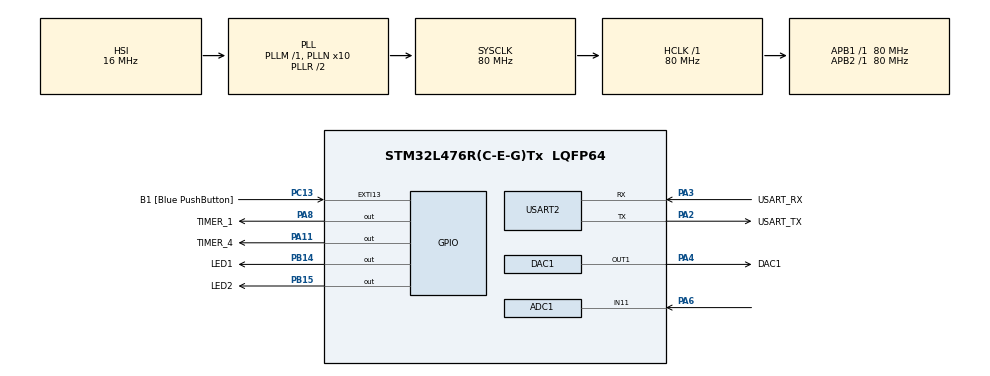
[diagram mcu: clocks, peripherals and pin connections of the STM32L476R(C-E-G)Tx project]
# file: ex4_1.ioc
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ADC1.Channel-0\#ChannelRegularConversion=ADC_CHANNEL_11
ADC1.ExternalTrigConv=ADC_EXTERNALTRIG_T6_TRGO
ADC1.NbrOfConversionFlag=1
ADC1.OffsetNumber-0\#ChannelRegularConversion=ADC_OFFSET_NONE
ADC1.OversamplingMode=DISABLE
ADC1.Rank-0\#ChannelRegularConversion=1
ADC1.SamplingTime-0\#ChannelRegularConversion=ADC_SAMPLETIME_47CYCLES_5
ADC1.master=1
DAC1.DAC_Trigger-DAC_OUT1=DAC_TRIGGER_T6_TRGO
Mcu.Family=STM32L4
Mcu.Name=STM32L476R(C-E-G)Tx
Mcu.Package=LQFP64
NVIC.ADC1_2_IRQn=true\:0\:0\:false\:false\:true\:true\:true
NVIC.PriorityGroup=NVIC_PRIORITYGROUP_4
NVIC.TIM1_TRG_COM_TIM17_IRQn=true\:0\:0\:false\:false\:true\:true\:true
NVIC.TIM1_UP_TIM16_IRQn=true\:0\:0\:false\:false\:true\:true\:true
NVIC.TIM6_DAC_IRQn=true\:0\:0\:false\:false\:true\:true\:true
NVIC.TIM7_IRQn=true\:0\:0\:false\:false\:true\:true\:true
NVIC.USART2_IRQn=true\:0\:0\:false\:false\:true\:true\:true
PA11.GPIO_Label=TIMER_4
PA11.Signal=GPIO_Output
PA13\ (JTMS-SWDIO).GPIO_Label=TMS
PA13\ (JTMS-SWDIO).Mode=Serial_Wire
PA13\ (JTMS-SWDIO).Signal=SYS_JTMS-SWDIO
PA14\ (JTCK-SWCLK).GPIO_Label=TCK
PA14\ (JTCK-SWCLK).Mode=Serial_Wire
PA14\ (JTCK-SWCLK).Signal=SYS_JTCK-SWCLK
PA2.GPIO_Label=USART_TX
PA2.GPIO_Mode=GPIO_MODE_AF_PP
PA2.GPIO_PuPd=GPIO_NOPULL
PA2.GPIO_Speed=GPIO_SPEED_FREQ_VERY_HIGH
PA2.Mode=Asynchronous
PA2.Signal=USART2_TX
PA3.GPIO_Label=USART_RX
PA3.GPIO_Mode=GPIO_MODE_AF_PP
PA3.GPIO_PuPd=GPIO_NOPULL
PA3.GPIO_Speed=GPIO_SPEED_FREQ_VERY_HIGH
PA3.Mode=Asynchronous
PA3.Signal=USART2_RX
PA4.GPIO_Label=DAC1
PA4.Signal=COMP_DAC11_group
PA6.Signal=ADCx_IN11
PA8.GPIO_Label=TIMER_1
PA8.Signal=GPIO_Output
PB14.GPIO_Label=LED1
PB14.Signal=GPIO_Output
PB15.GPIO_Label=LED2
PB15.Signal=GPIO_Output
PB3\ (JTDO-TRACESWO).GPIO_Label=SWO
PB3\ (JTDO-TRACESWO).Signal=SYS_JTDO-SWO
PC13.GPIO_Label=B1 [Blue PushButton]
PC13.GPIO_ModeDefaultEXTI=GPIO_MODE_IT_FALLING
PC13.GPIO_PuPd=GPIO_NOPULL
PC13.Signal=GPXTI13
PC14-OSC32_IN\ (PC14).Mode=LSE-External-Oscillator
PC14-OSC32_IN\ (PC14).Signal=RCC_OSC32_IN
PC15-OSC32_OUT\ (PC15).Mode=LSE-External-Oscillator
PC15-OSC32_OUT\ (PC15).Signal=RCC_OSC32_OUT
PC3.Signal=ADCx_IN4
PH0-OSC_IN\ (PH0).Signal=RCC_OSC_IN
PH1-OSC_OUT\ (PH1).Signal=RCC_OSC_OUT
ProjectManager.HeapSize=0x200
ProjectManager.StackSize=0x400
ProjectManager.TargetToolchain=STM32CubeIDE
RCC.ADCFreq_Value=64000000
RCC.AHBFreq_Value=80000000
RCC.APB1Freq_Value=80000000
RCC.APB1TimFreq_Value=80000000
RCC.APB2Freq_Value=80000000
RCC.APB2TimFreq_Value=80000000
RCC.CortexFreq_Value=80000000
RCC.HCLKFreq_Value=80000000
RCC.HSE_VALUE=8000000
RCC.HSI_VALUE=16000000
RCC.MSI_VALUE=4000000
RCC.PLLN=10
RCC.PLLSourceVirtual=RCC_PLLSOURCE_HSI
RCC.PREFETCH_ENABLE=1
RCC.SYSCLKFreq_VALUE=80000000
RCC.SYSCLKSource=RCC_SYSCLKSOURCE_PLLCLK
RCC.USBFreq_Value=64000000
RCC.VCOOutputFreq_Value=160000000
SH.ADCx_IN11.0=ADC1_IN11,IN11-Single-Ended
SH.ADCx_IN4.0=ADC1_IN4
SH.COMP_DAC11_group.0=DAC1_OUT1,DAC_OUT1
TIM16.Prescaler=79
TIM17.Period=9999
TIM17.Prescaler=3999
TIM6.Period=999
TIM6.Prescaler=79
TIM6.TIM_MasterOutputTrigger=TIM_TRGO_UPDATE
TIM7.Period=999
TIM7.Prescaler=79
TIM7.TIM_MasterOutputTrigger=TIM_TRGO_RESET
USART2.VirtualMode-Asynchronous=VM_ASYNC
VP_TIM16_VS_ClockSourceINT.Mode=Enable_Timer
VP_TIM17_VS_ClockSourceINT.Mode=Enable_Timer
VP_TIM6_VS_ClockSourceINT.Mode=Enable_Timer
VP_TIM7_VS_ClockSourceINT.Mode=Enable_Timer
board=NUCLEO-L476RG

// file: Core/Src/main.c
/* USER CODE BEGIN Header */
/**
  ******************************************************************************
  * @file           : main.c
  * @brief          : Main program body
  ******************************************************************************
  * @attention
  *
  * <h2><center>&copy; Copyright (c) 2021 STMicroelectronics.
  * All rights reserved.</center></h2>
  *
  * This software component is licensed by ST under BSD 3-Clause license,
  * the "License"; You may not use this file except in compliance with the
  * License. You may obtain a copy of the License at:
  *                        opensource.org/licenses/BSD-3-Clause
  *
  ******************************************************************************
  */
/* USER CODE END Header */
#include "main.h"
#include "adc.h"
#include "dac.h"
#include "tim.h"
#include "usart.h"
#include "gpio.h"

/* USER CODE BEGIN Includes */
#include <stdio.h>
#include "pid.h"
/* USER CODE END Includes */

/* USER CODE BEGIN PV */
uint16_t size=2;
uint8_t received[2];
volatile int uart_flag=0;
volatile int mainLoop_flag=0;
volatile int showVal_flag=0;
volatile int adc_flag;
volatile int adc_value;
volatile int dac_value;
volatile int dac_control;
volatile uint16_t dac_index;
volatile uint8_t dac_nperiod;
#define dac_nperiod_max    100 //programowy prescaler
int step_desired;
cpid_t pid;
/* USER CODE END PV */

void SystemClock_Config(void);
/* USER CODE BEGIN PFP */

int _write(int file, uint8_t *ptr, int len){
	HAL_UART_Transmit(&huart2, ptr, len, 100);
	return  len;
};

void HAL_UART_RxCpltCallback(UART_HandleTypeDef *huart){
	if(huart->Instance==USART2){
		if(received[0]=='0'){
			dac_value=0;
		}else if(received[0]=='1'){
			dac_value=4095/4;
		}else if(received[0]=='2'){
			dac_value=4095/2;
		}else if(received[0]=='3'){
			dac_value=4095*3/4;
		}else if(received[0]=='4'){
			dac_value=4095;
		};
		HAL_UART_Receive_IT(&huart2, received, size);
	};
};

void HAL_ADC_ConvCpltCallback(ADC_HandleTypeDef* hadc) {
	if (hadc == &hadc1) {
		adc_flag = 1;
		adc_value = HAL_ADC_GetValue(&hadc1);
	}
}

void HAL_TIM_PeriodElapsedCallback(TIM_HandleTypeDef *htim) {
	if (htim == &htim7) {
	};
	if (htim == &htim16) {
		mainLoop_flag=1;
	};
	if (htim == &htim17) {
		showVal_flag=1;
	};
}
/* USER CODE END PFP */

int main(void)
{

  /* MCU Configuration--------------------------------------------------------*/

  /* Reset of all peripherals, Initializes the Flash interface and the Systick. */
  HAL_Init();

  /* Configure the system clock */
  SystemClock_Config();

  /* Initialize all configured peripherals */
  MX_GPIO_Init();
  MX_USART2_UART_Init();
  MX_TIM7_Init();
  MX_DAC1_Init();
  MX_ADC1_Init();
  MX_TIM6_Init();
  MX_TIM16_Init();
  MX_TIM17_Init();
  /* USER CODE BEGIN 2 */

  //UART START WITH CALLBACKS
  HAL_UART_Receive_IT(&huart2, received, size);

  //TIMERS FOR TIME BASE GENERATION
  //HAL_TIM_Base_Start_IT(&htim16);
  //HAL_TIM_Base_Start_IT(&htim17);

  //PID LOOP
  HAL_TIM_Base_Start(&htim6);

  //DAC DESIRED VALUE
  HAL_TIM_Base_Start_IT(&htim7);
  HAL_DAC_SetValue(&hdac1, DAC_CHANNEL_1, DAC_ALIGN_12B_R, 0);
  HAL_DAC_Start(&hdac1, DAC_CHANNEL_1);

  //ADC START WITH CALLBACKS
  HAL_ADC_Start_IT(&hadc1);
  /* USER CODE END 2 */

  /* Infinite loop */
  /* USER CODE BEGIN WHILE */

  //DOBIERZ ODPOWIEDNIE WSPOLCZYNNIKI REGULATORA PID

  //regulator ustawiony metodą prób i błędów
  pid_init(&pid, 9.0f, 0.6f, 0.3f, 7, 10);  // 10ms = 100Hz
  pid.p_max = pid_scale(&pid, 4095);
  pid.p_min = pid_scale(&pid, -4095);
  pid.i_max = pid_scale(&pid, 4095);
  pid.i_min = pid_scale(&pid, -4095);
  pid.d_max = pid_scale(&pid, 4095);
  pid.d_min = pid_scale(&pid, -4095);
  pid.total_max = pid_scale(&pid, 4095);
  pid.total_min = pid_scale(&pid, 0);

  while (1)
  {
    /* USER CODE END WHILE */

    /* USER CODE BEGIN 3 */
	  if(mainLoop_flag==1){  // Glowna petla 100hz

		  mainLoop_flag=0;

		  if (adc_flag == 1) {

			  adc_flag = 0;

			  dac_control = pid_calc(&pid, adc_value, dac_value);
			  HAL_DAC_SetValue(&hdac1, DAC_CHANNEL_1, DAC_ALIGN_12B_R, dac_control);
		  };
	  };

	  if(showVal_flag==1){

		  showVal_flag=0;

		  printf("DAC: MV: %d, %d, CS: %d, SP: %d, %d \r\n", pid.mv, pid.mv*100/4096, dac_control, dac_value, dac_value*100/4095);
	  };
  }
  /* USER CODE END 3 */
}

void SystemClock_Config(void)
{
  RCC_OscInitTypeDef RCC_OscInitStruct = {0};
  RCC_ClkInitTypeDef RCC_ClkInitStruct = {0};
  RCC_PeriphCLKInitTypeDef PeriphClkInit = {0};

  /** Initializes the RCC Oscillators according to the specified parameters
  * in the RCC_OscInitTypeDef structure.
  */
  RCC_OscInitStruct.OscillatorType = RCC_OSCILLATORTYPE_HSI;
  RCC_OscInitStruct.HSIState = RCC_HSI_ON;
  RCC_OscInitStruct.HSICalibrationValue = RCC_HSICALIBRATION_DEFAULT;
  RCC_OscInitStruct.PLL.PLLState = RCC_PLL_ON;
  RCC_OscInitStruct.PLL.PLLSource = RCC_PLLSOURCE_HSI;
  RCC_OscInitStruct.PLL.PLLM = 1;
  RCC_OscInitStruct.PLL.PLLN = 10;
  RCC_OscInitStruct.PLL.PLLP = RCC_PLLP_DIV7;
  RCC_OscInitStruct.PLL.PLLQ = RCC_PLLQ_DIV2;
  RCC_OscInitStruct.PLL.PLLR = RCC_PLLR_DIV2;
  if (HAL_RCC_OscConfig(&RCC_OscInitStruct) != HAL_OK)
  {
    Error_Handler();
  }
  /** Initializes the CPU, AHB and APB buses clocks
  */
  RCC_ClkInitStruct.ClockType = RCC_CLOCKTYPE_HCLK|RCC_CLOCKTYPE_SYSCLK
                              |RCC_CLOCKTYPE_PCLK1|RCC_CLOCKTYPE_PCLK2;
  RCC_ClkInitStruct.SYSCLKSource = RCC_SYSCLKSOURCE_PLLCLK;
  RCC_ClkInitStruct.AHBCLKDivider = RCC_SYSCLK_DIV1;
  RCC_ClkInitStruct.APB1CLKDivider = RCC_HCLK_DIV1;
  RCC_ClkInitStruct.APB2CLKDivider = RCC_HCLK_DIV1;

  if (HAL_RCC_ClockConfig(&RCC_ClkInitStruct, FLASH_LATENCY_4) != HAL_OK)
  {
    Error_Handler();
  }
  PeriphClkInit.PeriphClockSelection = RCC_PERIPHCLK_USART2|RCC_PERIPHCLK_ADC;
  PeriphClkInit.Usart2ClockSelection = RCC_USART2CLKSOURCE_PCLK1;
  PeriphClkInit.AdcClockSelection = RCC_ADCCLKSOURCE_PLLSAI1;
  PeriphClkInit.PLLSAI1.PLLSAI1Source = RCC_PLLSOURCE_HSI;
  PeriphClkInit.PLLSAI1.PLLSAI1M = 1;
  PeriphClkInit.PLLSAI1.PLLSAI1N = 8;
  PeriphClkInit.PLLSAI1.PLLSAI1P = RCC_PLLP_DIV7;
  PeriphClkInit.PLLSAI1.PLLSAI1Q = RCC_PLLQ_DIV2;
  PeriphClkInit.PLLSAI1.PLLSAI1R = RCC_PLLR_DIV2;
  PeriphClkInit.PLLSAI1.PLLSAI1ClockOut = RCC_PLLSAI1_ADC1CLK;
  if (HAL_RCCEx_PeriphCLKConfig(&PeriphClkInit) != HAL_OK)
  {
    Error_Handler();
  }
  /** Configure the main internal regulator output voltage
  */
  if (HAL_PWREx_ControlVoltageScaling(PWR_REGULATOR_VOLTAGE_SCALE1) != HAL_OK)
  {
    Error_Handler();
  }
}

void Error_Handler(void)
{
}

/************************ (C) COPYRIGHT STMicroelectronics *****END OF FILE****/
